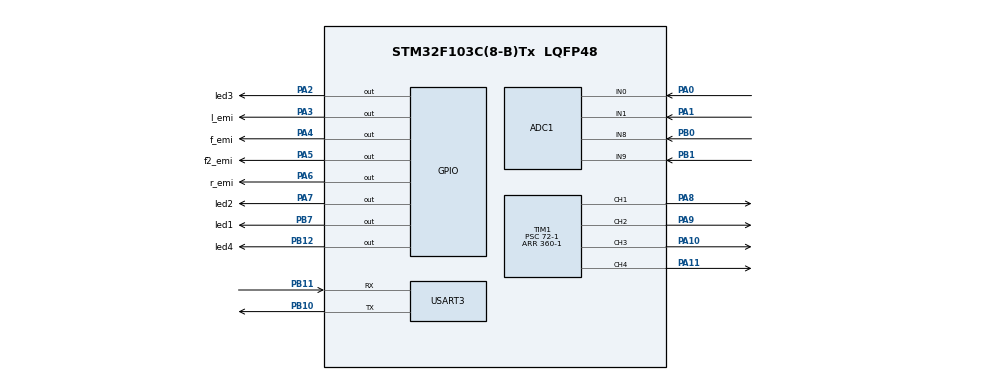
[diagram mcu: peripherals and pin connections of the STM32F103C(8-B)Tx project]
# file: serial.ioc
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ADC1.Channel-2\#ChannelRegularConversion=ADC_CHANNEL_0
ADC1.Channel-3\#ChannelRegularConversion=ADC_CHANNEL_1
ADC1.Channel-4\#ChannelRegularConversion=ADC_CHANNEL_8
ADC1.Channel-5\#ChannelRegularConversion=ADC_CHANNEL_9
ADC1.ContinuousConvMode=DISABLE
ADC1.DiscontinuousConvMode=DISABLE
ADC1.NbrOfConversion=4
ADC1.NbrOfConversionFlag=1
ADC1.Rank-2\#ChannelRegularConversion=1
ADC1.Rank-3\#ChannelRegularConversion=2
ADC1.Rank-4\#ChannelRegularConversion=3
ADC1.Rank-5\#ChannelRegularConversion=4
ADC1.SamplingTime-2\#ChannelRegularConversion=ADC_SAMPLETIME_1CYCLE_5
ADC1.SamplingTime-3\#ChannelRegularConversion=ADC_SAMPLETIME_1CYCLE_5
ADC1.SamplingTime-4\#ChannelRegularConversion=ADC_SAMPLETIME_1CYCLE_5
ADC1.SamplingTime-5\#ChannelRegularConversion=ADC_SAMPLETIME_1CYCLE_5
ADC1.master=1
Dma.ADC1.0.Direction=DMA_PERIPH_TO_MEMORY
Dma.ADC1.0.Instance=DMA1_Channel1
Dma.ADC1.0.MemDataAlignment=DMA_MDATAALIGN_WORD
Dma.ADC1.0.MemInc=DMA_MINC_ENABLE
Dma.ADC1.0.Mode=DMA_CIRCULAR
Dma.ADC1.0.PeriphDataAlignment=DMA_PDATAALIGN_HALFWORD
Dma.ADC1.0.PeriphInc=DMA_PINC_DISABLE
Dma.ADC1.0.Priority=DMA_PRIORITY_LOW
Dma.Request0=ADC1
Mcu.Family=STM32F1
Mcu.Name=STM32F103C(8-B)Tx
Mcu.Package=LQFP48
NVIC.DMA1_Channel1_IRQn=true\:0\:0\:false\:false\:true\:false\:true\:true
NVIC.PriorityGroup=NVIC_PRIORITYGROUP_4
PA0-WKUP.Signal=ADCx_IN0
PA1.Signal=ADCx_IN1
PA10.Signal=S_TIM1_CH3
PA11.Signal=S_TIM1_CH4
PA13.Mode=Serial_Wire
PA13.Signal=SYS_JTMS-SWDIO
PA14.Mode=Serial_Wire
PA14.Signal=SYS_JTCK-SWCLK
PA2.GPIO_Label=led3
PA2.Signal=GPIO_Output
PA3.GPIO_Label=l_emi
PA3.Signal=GPIO_Output
PA4.GPIO_Label=f_emi
PA4.Signal=GPIO_Output
PA5.GPIO_Label=f2_emi
PA5.Signal=GPIO_Output
PA6.GPIO_Label=r_emi
PA6.Signal=GPIO_Output
PA7.GPIO_Label=led2
PA7.Signal=GPIO_Output
PA8.Signal=S_TIM1_CH1
PA9.Signal=S_TIM1_CH2
PB0.Signal=ADCx_IN8
PB1.Signal=ADCx_IN9
PB10.Mode=Asynchronous
PB10.Signal=USART3_TX
PB11.Mode=Asynchronous
PB11.Signal=USART3_RX
PB12.GPIO_Label=led4
PB12.Signal=GPIO_Output
PB7.GPIO_Label=led1
PB7.Signal=GPIO_Output
PD0-OSC_IN.Mode=HSE-External-Oscillator
PD0-OSC_IN.Signal=RCC_OSC_IN
PD1-OSC_OUT.Mode=HSE-External-Oscillator
PD1-OSC_OUT.Signal=RCC_OSC_OUT
ProjectManager.HeapSize=0x200
ProjectManager.StackSize=0x400
ProjectManager.TargetToolchain=STM32CubeIDE
RCC.ADCPresc=RCC_ADCPCLK2_DIV6
RCC.AHBFreq_Value=72000000
RCC.APB1CLKDivider=RCC_HCLK_DIV2
RCC.APB1Freq_Value=36000000
RCC.APB1TimFreq_Value=72000000
RCC.APB2Freq_Value=72000000
RCC.APB2TimFreq_Value=72000000
RCC.HCLKFreq_Value=72000000
RCC.PLLMUL=RCC_PLL_MUL9
RCC.PLLSourceVirtual=RCC_PLLSOURCE_HSE
RCC.SYSCLKFreq_VALUE=72000000
RCC.SYSCLKSource=RCC_SYSCLKSOURCE_PLLCLK
RCC.USBFreq_Value=72000000
SH.ADCx_IN0.0=ADC1_IN0,IN0
SH.ADCx_IN1.0=ADC1_IN1,IN1
SH.ADCx_IN8.0=ADC1_IN8,IN8
SH.ADCx_IN9.0=ADC1_IN9,IN9
SH.S_TIM1_CH1.0=TIM1_CH1,PWM Generation1 CH1
SH.S_TIM1_CH2.0=TIM1_CH2,PWM Generation2 CH2
SH.S_TIM1_CH3.0=TIM1_CH3,PWM Generation3 CH3
SH.S_TIM1_CH4.0=TIM1_CH4,PWM Generation4 CH4
TIM1.Channel-PWM\ Generation1\ CH1=TIM_CHANNEL_1
TIM1.Channel-PWM\ Generation2\ CH2=TIM_CHANNEL_2
TIM1.Channel-PWM\ Generation3\ CH3=TIM_CHANNEL_3
TIM1.Channel-PWM\ Generation4\ CH4=TIM_CHANNEL_4
TIM1.Period=360-1
TIM1.Prescaler=72-1
USART3.VirtualMode=VM_ASYNC
board=custom

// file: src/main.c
/* USER CODE BEGIN Header */
/**
  ******************************************************************************
  * @file           : main.c
  * @brief          : Main program body
  ******************************************************************************
  * @attention
  *
  * Copyright (c) 2024 STMicroelectronics.
  * All rights reserved.
  *
  * This software is licensed under terms that can be found in the LICENSE file
  * in the root directory of this software component.
  * If no LICENSE file comes with this software, it is provided AS-IS.
  *
  ******************************************************************************
  */
/* USER CODE END Header */
#include "main.h"

/* USER CODE BEGIN Includes */
#include <string.h>
#include <stdio.h>
/* USER CODE END Includes */

ADC_HandleTypeDef hadc1;
DMA_HandleTypeDef hdma_adc1;

TIM_HandleTypeDef htim1;

UART_HandleTypeDef huart3;

void SystemClock_Config(void);
static void MX_GPIO_Init(void);
static void MX_DMA_Init(void);
static void MX_USART3_UART_Init(void);
static void MX_ADC1_Init(void);
static void MX_TIM1_Init(void);

/* USER CODE BEGIN 0 */

uint32_t AD_RES_BUFFER[4];

uint32_t IR1;
uint32_t IR2;
uint32_t IR3;
uint32_t IR4;
int previousError, PIDvalue, error, front;
int P;
int D;
int I ;
int lsp, rsp;
int lfspeed = 250;

uint32_t Kp = 6.5  ;
uint32_t Kd = 5 ;
uint32_t Ki = 0 ;
/* USER CODE END 0 */

int main(void)
{

  /* MCU Configuration--------------------------------------------------------*/

  /* Reset of all peripherals, Initializes the Flash interface and the Systick. */

	HAL_Init();

  /* Configure the system clock */
  SystemClock_Config();

  /* Initialize all configured peripherals */
  MX_GPIO_Init();
  MX_DMA_Init();
  MX_USART3_UART_Init();
  MX_ADC1_Init();
  MX_TIM1_Init();
  /* USER CODE BEGIN 2 */

  //this pointer will also be used to read the analog value,

  /* USER CODE END 2 */

  /* Infinite loop */
  /* USER CODE BEGIN WHILE */
  HAL_GPIO_WritePin(GPIOA,
    		  l_emi_Pin |
    		  f_emi_Pin|
    		  f2_emi_Pin|
            r_emi_Pin
    		  , GPIO_PIN_SET);

        /* Infinite loop */
        /* USER CODE BEGIN WHILE */
        while (1)
        {
        /* USER CODE END WHILE */
        	HAL_ADC_Start_DMA(&hadc1, AD_RES_BUFFER, 4);
        	HAL_ADC_Stop_DMA(&hadc1);
        	HAL_ADCEx_Calibration_Start(&hadc1);

        	HAL_ADC_Start_DMA(&hadc1, AD_RES_BUFFER, 4);
        	        HAL_Delay(1);

        	if (HAL_DMA_STATE_BUSY != hdma_adc1.State) {
    			IR1=AD_RES_BUFFER[0];
    			IR2=AD_RES_BUFFER[1];
    			IR3=AD_RES_BUFFER[2];
    			IR4=AD_RES_BUFFER[3];
        	}

     	front=(AD_RES_BUFFER[0] + AD_RES_BUFFER[3])/2;

	        error = (AD_RES_BUFFER[1] - AD_RES_BUFFER[2]);
 	        P = error;
 	       // I = I + error;
 	        D = error - previousError;
 	        PIDvalue = (Kp * P) +  (Kd * D);
 	        previousError = error;
 	        lsp = lfspeed - PIDvalue;
 	        rsp = lfspeed + PIDvalue;
 	        if (lsp > 255) {
 	        lsp = 255;
 	        }
 	        if (lsp < 0) {
 	        lsp = 0;
 	        }
 	        if (rsp > 255) {
 	        rsp = 255;
 	        }
 	        if (rsp < 0) {
 	        rsp = 0;
 	        }

  /* USER CODE END 3 */
}

void SystemClock_Config(void)
{
  RCC_OscInitTypeDef RCC_OscInitStruct = {0};
  RCC_ClkInitTypeDef RCC_ClkInitStruct = {0};
  RCC_PeriphCLKInitTypeDef PeriphClkInit = {0};

  /** Initializes the RCC Oscillators according to the specified parameters
  * in the RCC_OscInitTypeDef structure.
  */
  RCC_OscInitStruct.OscillatorType = RCC_OSCILLATORTYPE_HSE;
  RCC_OscInitStruct.HSEState = RCC_HSE_ON;
  RCC_OscInitStruct.HSEPredivValue = RCC_HSE_PREDIV_DIV1;
  RCC_OscInitStruct.HSIState = RCC_HSI_ON;
  RCC_OscInitStruct.PLL.PLLState = RCC_PLL_ON;
  RCC_OscInitStruct.PLL.PLLSource = RCC_PLLSOURCE_HSE;
  RCC_OscInitStruct.PLL.PLLMUL = RCC_PLL_MUL9;
  if (HAL_RCC_OscConfig(&RCC_OscInitStruct) != HAL_OK)
  {
    Error_Handler();
  }

  /** Initializes the CPU, AHB and APB buses clocks
  */
  }

  /** Configure Regular Channel
  */
  sConfig.Channel = ADC_CHANNEL_0;
  sConfig.Rank = ADC_REGULAR_RANK_1;
  sConfig.SamplingTime = ADC_SAMPLETIME_1CYCLE_5;
  if (HAL_ADC_ConfigChannel(&hadc1, &sConfig) != HAL_OK)
  {
    Error_Handler();
  }

  /** Configure Regular Channel
  */
  sConfig.Channel = ADC_CHANNEL_1;
  sConfig.Rank = ADC_REGULAR_RANK_2;
  if (HAL_ADC_ConfigChannel(&hadc1, &sConfig) != HAL_OK)
  {
    Error_Handler();
  }

  /** Configure Regular Channel
  */
  sConfig.Channel = ADC_CHANNEL_8;
  sConfig.Rank = ADC_REGULAR_RANK_3;
  if (HAL_ADC_ConfigChannel(&hadc1, &sConfig) != HAL_OK)
  {
    Error_Handler();
  }

  /** Configure Regular Channel
  */
  sConfig.Channel = ADC_CHANNEL_9;
  sConfig.Rank = ADC_REGULAR_RANK_4;
  if (HAL_ADC_ConfigChannel(&hadc1, &sConfig) != HAL_OK)
  {
    Error_Handler();
  }

}

static void MX_TIM1_Init(void)
{

  TIM_MasterConfigTypeDef sMasterConfig = {0};
  TIM_OC_InitTypeDef sConfigOC = {0};
  TIM_BreakDeadTimeConfigTypeDef sBreakDeadTimeConfig = {0};

  htim1.Instance = TIM1;
  htim1.Init.Prescaler = 72-1;
  htim1.Init.CounterMode = TIM_COUNTERMODE_UP;
  htim1.Init.Period = 360-1;
  htim1.Init.ClockDivision = TIM_CLOCKDIVISION_DIV1;
  htim1.Init.RepetitionCounter = 0;
  htim1.Init.AutoReloadPreload = TIM_AUTORELOAD_PRELOAD_DISABLE;
  if (HAL_TIM_PWM_Init(&htim1) != HAL_OK)
  {
    Error_Handler();
  }
  sMasterConfig.MasterOutputTrigger = TIM_TRGO_RESET;
  sMasterConfig.MasterSlaveMode = TIM_MASTERSLAVEMODE_DISABLE;
  if (HAL_TIMEx_MasterConfigSynchronization(&htim1, &sMasterConfig) != HAL_OK)
  {
    Error_Handler();
  }
  sConfigOC.OCMode = TIM_OCMODE_PWM1;
  sConfigOC.Pulse = 0;
  sConfigOC.OCPolarity = TIM_OCPOLARITY_HIGH;
  sConfigOC.OCNPolarity = TIM_OCNPOLARITY_HIGH;
  sConfigOC.OCFastMode = TIM_OCFAST_DISABLE;
  sConfigOC.OCIdleState = TIM_OCIDLESTATE_RESET;
  sConfigOC.OCNIdleState = TIM_OCNIDLESTATE_RESET;
  if (HAL_TIM_PWM_ConfigChannel(&htim1, &sConfigOC, TIM_CHANNEL_1) != HAL_OK)
  {
    Error_Handler();
  }
  if (HAL_TIM_PWM_ConfigChannel(&htim1, &sConfigOC, TIM_CHANNEL_2) != HAL_OK)
  {
    Error_Handler();
  }
  if (HAL_TIM_PWM_ConfigChannel(&htim1, &sConfigOC, TIM_CHANNEL_3) != HAL_OK)
  {
    Error_Handler();
  }
  if (HAL_TIM_PWM_ConfigChannel(&htim1, &sConfigOC, TIM_CHANNEL_4) != HAL_OK)
  {
    Error_Handler();
  }
  sBreakDeadTimeConfig.OffStateRunMode = TIM_OSSR_DISABLE;
  sBreakDeadTimeConfig.OffStateIDLEMode = TIM_OSSI_DISABLE;
  sBreakDeadTimeConfig.LockLevel = TIM_LOCKLEVEL_OFF;
  sBreakDeadTimeConfig.DeadTime = 0;
  sBreakDeadTimeConfig.BreakState = TIM_BREAK_DISABLE;
  sBreakDeadTimeConfig.BreakPolarity = TIM_BREAKPOLARITY_HIGH;
  sBreakDeadTimeConfig.AutomaticOutput = TIM_AUTOMATICOUTPUT_DISABLE;
  if (HAL_TIMEx_ConfigBreakDeadTime(&htim1, &sBreakDeadTimeConfig) != HAL_OK)
  {
    Error_Handler();
  }
  HAL_TIM_MspPostInit(&htim1);

}

static void MX_USART3_UART_Init(void)
{

  huart3.Instance = USART3;
  huart3.Init.BaudRate = 115200;
  huart3.Init.WordLength = UART_WORDLENGTH_8B;
  huart3.Init.StopBits = UART_STOPBITS_1;
  huart3.Init.Parity = UART_PARITY_NONE;
  huart3.Init.Mode = UART_MODE_TX_RX;
  huart3.Init.HwFlowCtl = UART_HWCONTROL_NONE;
  huart3.Init.OverSampling = UART_OVERSAMPLING_16;
  if (HAL_UART_Init(&huart3) != HAL_OK)
  {
    Error_Handler();
  }

}

static void MX_DMA_Init(void)
{

  /* DMA controller clock enable */
  __HAL_RCC_DMA1_CLK_ENABLE();

  /* DMA interrupt init */
  /* DMA1_Channel1_IRQn interrupt configuration */
  HAL_NVIC_SetPriority(DMA1_Channel1_IRQn, 0, 0);
  HAL_NVIC_EnableIRQ(DMA1_Channel1_IRQn);

}

static void MX_GPIO_Init(void)
{
  GPIO_InitTypeDef GPIO_InitStruct = {0};

  /* GPIO Ports Clock Enable */
  __HAL_RCC_GPIOD_CLK_ENABLE();
  __HAL_RCC_GPIOA_CLK_ENABLE();
  __HAL_RCC_GPIOB_CLK_ENABLE();

  /*Configure GPIO pin Output Level */
  HAL_GPIO_WritePin(GPIOA, led3_Pin|l_emi_Pin|f_emi_Pin|f2_emi_Pin
                          |r_emi_Pin|led2_Pin, GPIO_PIN_RESET);

  /*Configure GPIO pin Output Level */
  HAL_GPIO_WritePin(GPIOB, led4_Pin|led1_Pin, GPIO_PIN_RESET);

  /*Configure GPIO pins : led3_Pin l_emi_Pin f_emi_Pin f2_emi_Pin
                           r_emi_Pin led2_Pin */
  GPIO_InitStruct.Pin = led3_Pin|l_emi_Pin|f_emi_Pin|f2_emi_Pin
                          |r_emi_Pin|led2_Pin;
  GPIO_InitStruct.Mode = GPIO_MODE_OUTPUT_PP;
  GPIO_InitStruct.Pull = GPIO_NOPULL;
  GPIO_InitStruct.Speed = GPIO_SPEED_FREQ_LOW;
  HAL_GPIO_Init(GPIOA, &GPIO_InitStruct);

  /*Configure GPIO pins : led4_Pin led1_Pin */
  GPIO_InitStruct.Pin = led4_Pin|led1_Pin;
  GPIO_InitStruct.Mode = GPIO_MODE_OUTPUT_PP;
  GPIO_InitStruct.Pull = GPIO_NOPULL;
  GPIO_InitStruct.Speed = GPIO_SPEED_FREQ_LOW;
  HAL_GPIO_Init(GPIOB, &GPIO_InitStruct);

}

void Error_Handler(void)
{
  __disable_irq();
  while (1)
  {
  }
}
